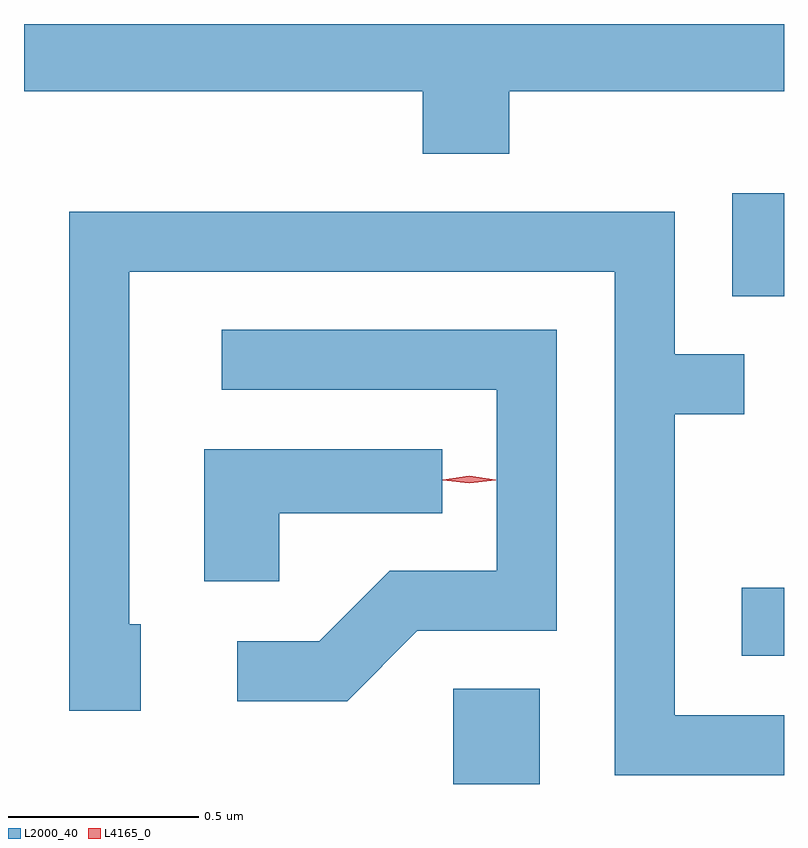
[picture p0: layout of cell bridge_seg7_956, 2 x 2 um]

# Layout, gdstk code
import gdstk
lib = gdstk.Library(unit=1e-6, precision=1e-09)
def R(c, l, rs):  # rectangles x0, y0, x1, y1
    for r in rs: c.add(gdstk.rectangle(r[:2], r[2:], *l))
def P(c, l, *ps):  # polygons
    for p in ps: c.add(gdstk.Polygon(p, *l))
L2000_40 = (2000, 40)
L4165_0 = (4165, 0)

bridge_seg7_956 = lib.new_cell('bridge_seg7_956')
R(bridge_seg7_956, L2000_40, [(590.761,1694.733,590.989,1694.984), (591.521,1695.071,591.632,1695.249), (591.496,1696.016,591.632,1696.288)])
P(bridge_seg7_956, L2000_40, [(590.909,1696.556),(591.632,1696.556),(591.632,1696.733),(589.632,1696.733),(589.632,1696.556),(590.681,1696.556),(590.681,1696.391),(590.909,1696.391)],
  [(591.632,1694.914),(591.344,1694.914),(591.344,1695.706),(591.528,1695.706),(591.528,1695.864),(591.344,1695.864),(591.344,1696.239),(589.751,1696.239),(589.751,1694.926),(589.939,1694.926),(589.939,1695.154),(589.909,1695.154),(589.909,1696.081),(591.186,1696.081),(591.186,1694.756),(591.632,1694.756)],
  [(590.667,1695.136),(591.034,1695.136),(591.034,1695.929),(590.153,1695.929),(590.153,1695.771),(590.876,1695.771),(590.876,1695.294),(590.594,1695.294),(590.409,1695.109),(590.193,1695.109),(590.193,1694.951),(590.482,1694.951)],
  [(590.304,1695.446),(590.733,1695.446),(590.733,1695.614),(590.106,1695.614),(590.106,1695.266),(590.304,1695.266)])
P(bridge_seg7_956, L4165_0, [(590.804,1695.524),(590.734,1695.533),(590.734,1695.534),(590.734,1695.534),(590.804,1695.544),(590.873,1695.534),(590.873,1695.534),(590.873,1695.533)])

lib.write_gds('bridge_seg7_956.gds')
